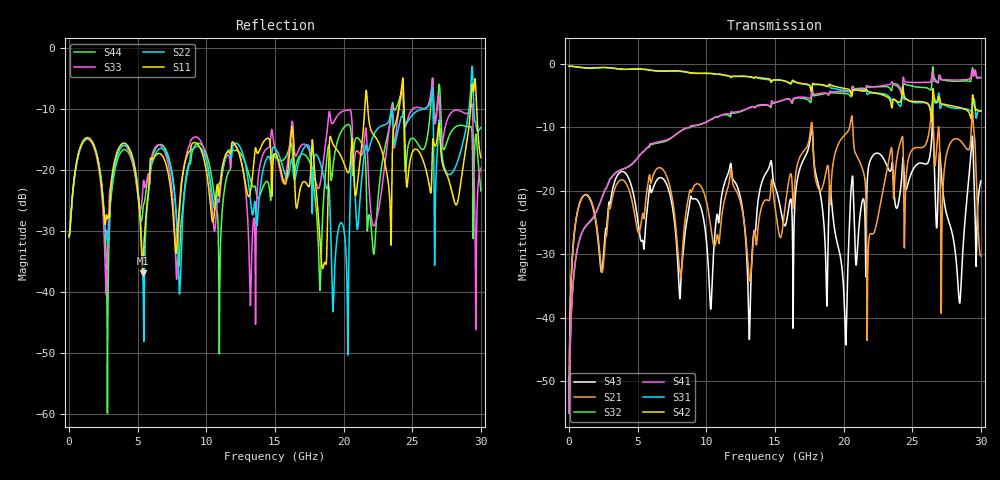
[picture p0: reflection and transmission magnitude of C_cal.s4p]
!MTL model of C_cal, calibrated on full-wave A (medium)
# Hz S RI R 50.0
!freq ReS11 ImS11 ReS12 ImS12 ReS13 ImS13
! ReS14 ImS14
! ReS21 ImS21 ReS22 ImS22 ReS23 ImS23
! ReS24 ImS24
! ReS31 ImS31 ReS32 ImS32 ReS33 ImS33
! ReS34 ImS34
! ReS41 ImS41 ReS42 ImS42 ReS43 ImS43
! ReS44 ImS44
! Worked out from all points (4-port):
!   3000 points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, 10 MHz to 30 GHz, reference 50 ohm
!   strongest paths, dB at 10 MHz, 7.51 GHz, 15.01 GHz, 22.51 GHz, 30 GHz:
!     S42: -0.4, -1.1, -2.6, -4.7, -7.5
!     S31: -0.4, -1.1, -2.6, -4.7, -7.4
!     S41: -55.0, -11.6, -6.1, -3.6, -2.2
!     S32: -55.0, -11.6, -6.2, -3.7, -2.2
!     S21: -54.4, -21.1, -22.7, -24.1, -30.3
!     S43: -54.4, -22.2, -19.4, -14.1, -18.5
!   lowest |S11| = -36.9 dB at 5.36 GHz (marker M1), VSWR 1.03, Z = 49.6 - j1.37 ohm
!   |S11| at or under -10 dB: start of sweep to 21.54 GHz; 21.77 GHz to 24.01 GHz (2.238 GHz wide, 9.78 % of centre); 24.41 GHz to 29.24 GHz (4.84 GHz wide, 18 % of centre) (the widest 3 of 4)
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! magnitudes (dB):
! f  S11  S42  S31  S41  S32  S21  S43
! 10 MHz  -30.9  -0.4  -0.4  -55.0  -55.0  -54.4  -54.4
! 950 MHz  -15.5  -0.6  -0.7  -26.6  -26.6  -21.1  -21.1
! 5.36 GHz  -36.9  -0.9  -0.9  -13.9  -13.9  -23.7  -27.8
! 17.63 GHz  -19.0  -4.2  -4.2  -5.2  -6.0  -9.8  -10.7
! 20.13 GHz  -19.5  -3.9  -4.2  -4.4  -4.7  -11.2  -43.0
! 26.39 GHz  -23.1  -8.7  -7.8  -2.6  -3.9  -7.8  -12.6
! 30 GHz  -17.9  -7.5  -7.4  -2.2  -2.2  -30.3  -18.5
